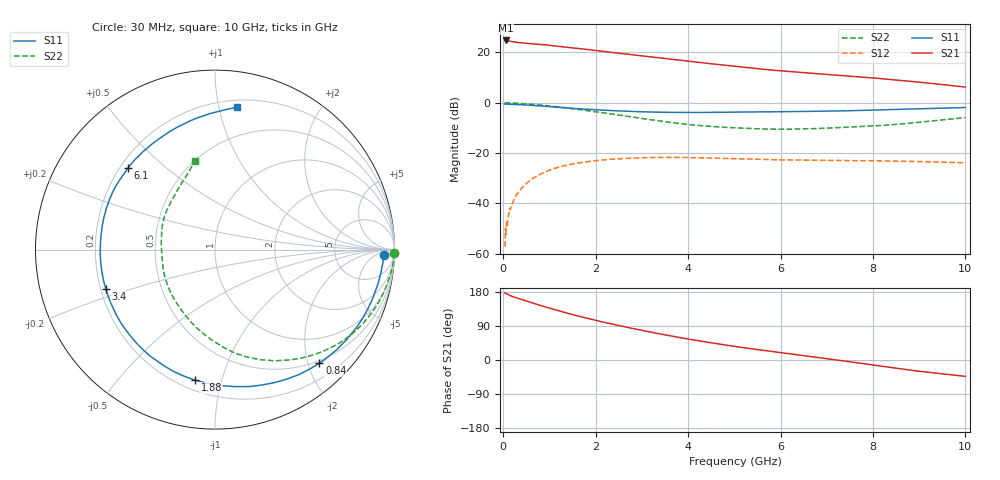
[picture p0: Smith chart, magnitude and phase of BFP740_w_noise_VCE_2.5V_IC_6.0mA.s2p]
! Infineon Technologies  Discrete & RF Semiconductors
! BFP740
! VCE =  2.5 V,  IC =  6.0 mA
! Common Emitter S-Parameters:  Jan 2016
# GHz  S  MA  R  50
!  f  S11  S21  S12  S22
! GHz  MAG  ANG  MAG  ANG  MAG  ANG  MAG  ANG
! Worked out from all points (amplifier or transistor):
!   229 points, 30 MHz to 10 GHz, reference 50 ohm
!   highest |S21| = 24.8 dB at 50 MHz (marker M1)
!   |S21| within 3 dB of that: start of sweep to 1.506 GHz
!   unconditionally stable (mu >= 1): 7.686 GHz to end of sweep
!   at 280 MHz: K = 0.11, MSG = 30.5 dB, |S12| = -36.9 dB
!   at 1.78 GHz: K = 0.25, MSG = 22.4 dB, |S12| = -23.5 dB
!   at 10 GHz: K = 1.14, MAG = 12.8 dB, |S12| = -23.9 dB
!   lowest NFmin = 0.45 dB at 450 MHz
!   S11 on the Smith chart (normalised r, x): 30 MHz: 26, -13; 840 MHz: 0.46, -2.20; 1.88 GHz: 0.26, -0.82; 3.4 GHz: 0.22, -0.17; 6.1 GHz: 0.23, +0.38; 10 GHz: 0.25, +1.13
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0.03  0.9404 -1.8  17.24 177.3  0.0014 88.9  0.9972 -1.2
0.04  0.939 -2.4  17.17 176.6  0.0014 86.5  0.9977 -1.7
0.05  0.9399 -3.0  17.33 176.2  0.0032 113.8  0.9988 -2.2
0.06  0.9373 -3.6  17.24 175.3  0.0024 94.0  0.9962 -2.5
0.12  0.9337 -7.2  16.94 171.7  0.006 79.8  0.9934 -5.0
0.24  0.9232 -14.2  16.21 165.9  0.0122 81.3  0.9821 -9.8
0.52  0.8975 -29.7  15.17 154.8  0.0256 71.3  0.9478 -20.3
0.84  0.8587 -47.4  14.38 142.6  0.0394 60.7  0.8941 -31.9
1.1  0.8253 -60.9  13.54 133.3  0.0491 52.8  0.8419 -40.9
1.3  0.7979 -71.1  12.93 126.3  0.0551 47.2  0.8002 -47.3
1.7  0.7511 -90.5  11.79 113.6  0.0649 37.3  0.718 -59.3
1.88  0.7351 -98.7  11.27 108.4  0.0685 33.1  0.6835 -64.4
2.24  0.7045 -114.8  10.32 97.8  0.0738 25.3  0.6152 -74.7
2.68  0.6759 -132.9  9.254 86.2  0.0782 17.1  0.5378 -86.3
3.1  0.6557 -149.3  8.376 75.7  0.0807 10.2  0.4724 -97.9
3.4  0.6467 -160.2  7.781 68.7  0.0815 5.7  0.4326 -106.6
4.1  0.6391 176.9  6.571 53.3  0.0809 -3.6  0.3609 -127.8
5.1  0.6516 152.9  5.189 34.2  0.0767 -12.9  0.3141 -154.5
6.1  0.6647 137.0  4.242 18.0  0.0727 -18.4  0.2973 -177.9
6.8  0.6766 126.7  3.769 6.8  0.0715 -21.7  0.3068 166.5
8.4  0.7307 100.9  2.892 -19.9  0.069 -29.2  0.3642 131.6
10  0.8025 81.2  2.05 -43.1  0.0639 -33.7  0.5075 102.8
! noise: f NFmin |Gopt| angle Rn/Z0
0.45  0.45  0.36  10  0.21
0.9  0.46  0.37  17  0.2
1.5  0.49  0.35  25  0.19
1.9  0.52  0.34  42  0.19
2.4  0.55  0.34  46  0.18
3.5  0.65  0.31  66  0.17
5.5  0.86  0.22  171  0.15
10  1.45  0.54  -80  0.2
